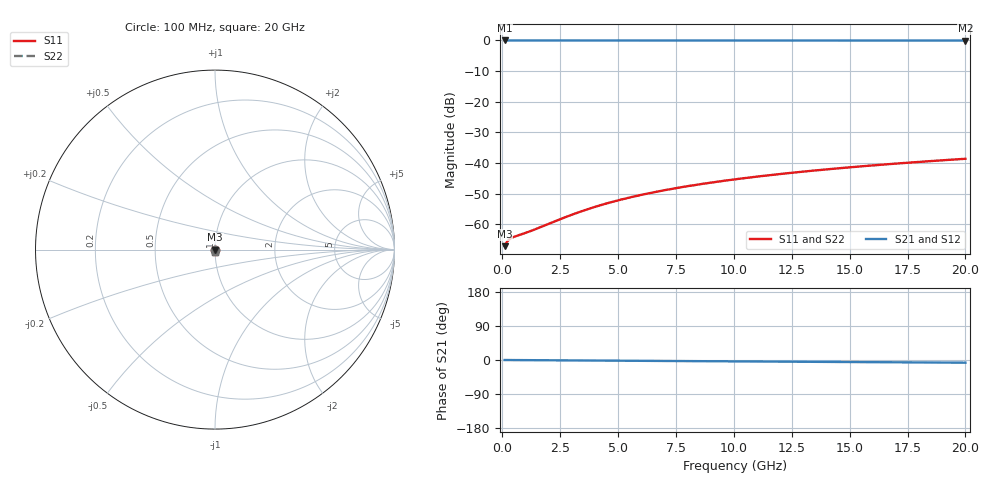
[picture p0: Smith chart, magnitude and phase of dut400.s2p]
! Touchstone file exported from HFSS 2026.1.0
!  File:  C:/ffzhzh/LocalFiles/Ansys_Project_Files/temp_train_BSMRDL_400_1783012309_55676.aedt
!  Generated:  01:13:07 AM Jul  3, 2026
!  Design:  BSMRDL
!  Project:  temp_train_BSMRDL_400_1783012309_55676
! Variables:
!  h_bsmrdl = 5.8um
!  h_ox = 20um
!  h_rdl = 5um
!  h_sub = 80um
!  h_tmrdl = 5um
!  h_tsv = 80um
!  h_via = 3um
!  l_bsmrdl = 115.05um
!  l_sub = 515.05um
!  l_tmrdl = 200um
!  m_sub = 200um
!  pitch = 31.91um
!  r_tsv = 6um
!  s_tmrdl = 10um
!  w_bsmrdl = 27.3um
!  w_sub = 500um
!  w_tmrdl = 12um
!  x_tsv_center1 = 206um
!  x_tsv_center2 = 348.35um
!  x_tsv_center3 = 560.35um
!  x_tsv_center4 = 702.7um
!  x_tsv_center5 = 914.7um
!  x_tsv_center6 = 1057.05um
# GHz S MA R 50.000000
! Terminal data exported
! Port[1] = BSM_RDL1_1_T1
! Port[2] = BSM_RDL1_1_T2
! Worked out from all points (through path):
!   200 points, 100 MHz to 20 GHz, reference 50 ohm
!   highest |S21| = 0.00 dB at 100 MHz (marker M1); lowest = 0.0 dB at 20 GHz (marker M2)
!   lowest |S11| = -67.1 dB at 100 MHz (marker M3), VSWR 1.00, Z = 50 + j0.00818 ohm
!   |S11| at or under -10 dB: start of sweep to end of sweep
!   |S22| runs from -67.1 to -38.6 dB; largest |S21 - S12| = 3.4e-15
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0.1  0.0004415 10.7  0.9996 -0.0  0.9996 -0.0  0.0004415 10.7
! Gamma 0 0 0 0
! Port Impedance 50 0 50 0
0.2  0.0005189 10.5  0.9995 -0.1  0.9995 -0.1  0.0005189 10.5
0.3  0.0005695 7.2  0.9994 -0.1  0.9994 -0.1  0.0005695 7.2
0.4  0.0006019 3.7  0.9994 -0.2  0.9994 -0.2  0.0006019 3.7
0.6  0.0006459 -2.1  0.9994 -0.2  0.9994 -0.2  0.0006459 -2.1
1.3  0.0007988 -15.7  0.9992 -0.5  0.9992 -0.5  0.0007988 -15.7
2.7  0.001301 -32.6  0.9989 -1.0  0.9989 -1.0  0.001301 -32.6
3.5  0.001676 -39.5  0.9987 -1.3  0.9987 -1.3  0.001676 -39.5
4.2  0.002034 -44.5  0.9985 -1.5  0.9985 -1.5  0.002034 -44.5
5  0.002466 -49.2  0.9983 -1.8  0.9983 -1.8  0.002467 -49.2
5.9  0.002972 -53.6  0.9981 -2.2  0.9981 -2.2  0.002972 -53.5
6.8  0.003491 -57.1  0.998 -2.5  0.998 -2.5  0.003491 -57.1
7.5  0.003901 -59.5  0.9979 -2.7  0.9979 -2.7  0.003901 -59.5
8.3  0.004376 -61.8  0.9977 -3.0  0.9977 -3.0  0.004376 -61.8
9.2  0.004917 -64.1  0.9976 -3.3  0.9976 -3.3  0.004917 -64.1
10.1  0.005464 -66.1  0.9975 -3.6  0.9975 -3.6  0.005464 -66.1
11.7  0.006449 -69.1  0.9972 -4.2  0.9972 -4.2  0.00645 -69.1
13.4  0.007513 -71.7  0.997 -4.8  0.997 -4.8  0.007514 -71.7
15  0.008527 -73.7  0.9968 -5.4  0.9968 -5.4  0.008528 -73.7
16.7  0.009616 -75.7  0.9966 -6.0  0.9966 -6.0  0.009617 -75.7
18.3  0.01065 -77.3  0.9964 -6.5  0.9964 -6.5  0.01065 -77.3
20  0.01176 -78.9  0.9962 -7.1  0.9962 -7.1  0.01176 -78.9
